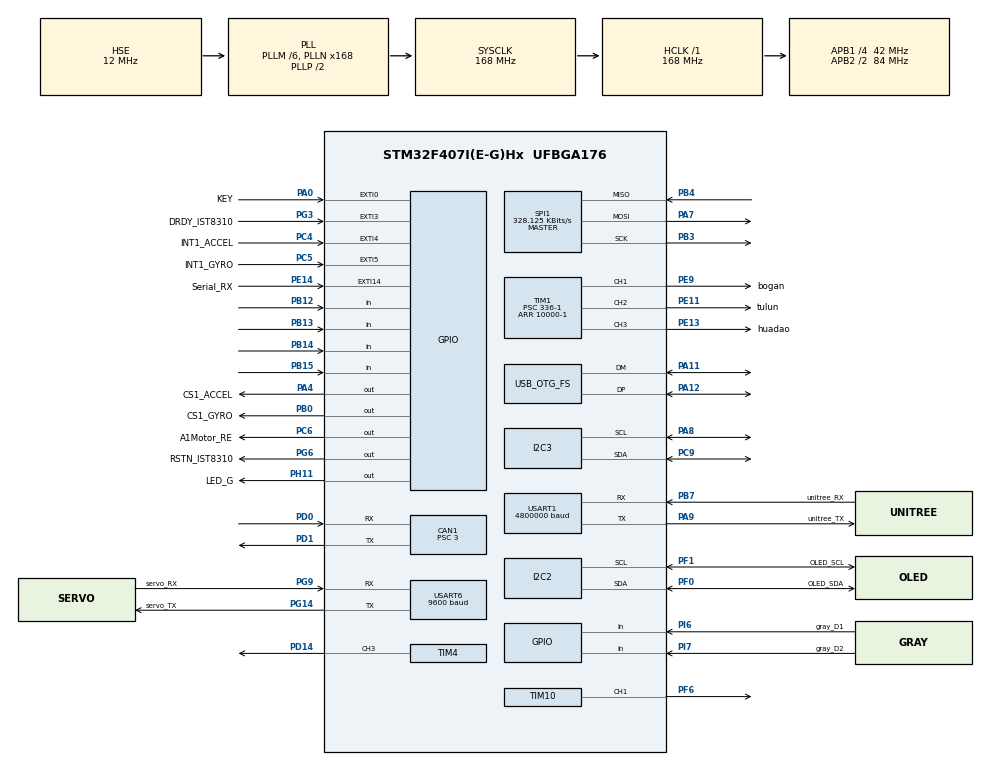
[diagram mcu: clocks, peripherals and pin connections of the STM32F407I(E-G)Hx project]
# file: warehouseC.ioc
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CAN1.BS1=CAN_BS1_10TQ
CAN1.BS2=CAN_BS2_3TQ
CAN1.CalculateBaudRate=1000000
CAN1.CalculateTimeBit=1000
CAN1.CalculateTimeQuantum=71.42857142857143
CAN1.Prescaler=3
Dma.I2C2_TX.6.Direction=DMA_MEMORY_TO_PERIPH
Dma.I2C2_TX.6.FIFOMode=DMA_FIFOMODE_DISABLE
Dma.I2C2_TX.6.Instance=DMA1_Stream7
Dma.I2C2_TX.6.MemDataAlignment=DMA_MDATAALIGN_BYTE
Dma.I2C2_TX.6.MemInc=DMA_MINC_ENABLE
Dma.I2C2_TX.6.Mode=DMA_NORMAL
Dma.I2C2_TX.6.PeriphDataAlignment=DMA_PDATAALIGN_BYTE
Dma.I2C2_TX.6.PeriphInc=DMA_PINC_DISABLE
Dma.I2C2_TX.6.Priority=DMA_PRIORITY_LOW
Dma.Request0=SPI1_RX
Dma.Request1=SPI1_TX
Dma.Request2=USART1_TX
Dma.Request3=USART1_RX
Dma.Request4=USART6_RX
Dma.Request5=USART6_TX
Dma.Request6=I2C2_TX
Dma.SPI1_RX.0.Direction=DMA_PERIPH_TO_MEMORY
Dma.SPI1_RX.0.FIFOMode=DMA_FIFOMODE_DISABLE
Dma.SPI1_RX.0.Instance=DMA2_Stream2
Dma.SPI1_RX.0.MemDataAlignment=DMA_MDATAALIGN_BYTE
Dma.SPI1_RX.0.MemInc=DMA_MINC_ENABLE
Dma.SPI1_RX.0.Mode=DMA_NORMAL
Dma.SPI1_RX.0.PeriphDataAlignment=DMA_PDATAALIGN_BYTE
Dma.SPI1_RX.0.PeriphInc=DMA_PINC_DISABLE
Dma.SPI1_RX.0.Priority=DMA_PRIORITY_VERY_HIGH
Dma.SPI1_TX.1.Direction=DMA_MEMORY_TO_PERIPH
Dma.SPI1_TX.1.FIFOMode=DMA_FIFOMODE_DISABLE
Dma.SPI1_TX.1.Instance=DMA2_Stream3
Dma.SPI1_TX.1.MemDataAlignment=DMA_MDATAALIGN_BYTE
Dma.SPI1_TX.1.MemInc=DMA_MINC_ENABLE
Dma.SPI1_TX.1.Mode=DMA_NORMAL
Dma.SPI1_TX.1.PeriphDataAlignment=DMA_PDATAALIGN_BYTE
Dma.SPI1_TX.1.PeriphInc=DMA_PINC_DISABLE
Dma.SPI1_TX.1.Priority=DMA_PRIORITY_HIGH
Dma.USART1_RX.3.Direction=DMA_PERIPH_TO_MEMORY
Dma.USART1_RX.3.FIFOMode=DMA_FIFOMODE_DISABLE
Dma.USART1_RX.3.Instance=DMA2_Stream5
Dma.USART1_RX.3.MemDataAlignment=DMA_MDATAALIGN_BYTE
Dma.USART1_RX.3.MemInc=DMA_MINC_ENABLE
Dma.USART1_RX.3.Mode=DMA_CIRCULAR
Dma.USART1_RX.3.PeriphDataAlignment=DMA_PDATAALIGN_BYTE
Dma.USART1_RX.3.PeriphInc=DMA_PINC_DISABLE
Dma.USART1_RX.3.Priority=DMA_PRIORITY_VERY_HIGH
Dma.USART1_TX.2.Direction=DMA_MEMORY_TO_PERIPH
Dma.USART1_TX.2.FIFOMode=DMA_FIFOMODE_DISABLE
Dma.USART1_TX.2.Instance=DMA2_Stream7
Dma.USART1_TX.2.MemDataAlignment=DMA_MDATAALIGN_BYTE
Dma.USART1_TX.2.MemInc=DMA_MINC_ENABLE
Dma.USART1_TX.2.Mode=DMA_NORMAL
Dma.USART1_TX.2.PeriphDataAlignment=DMA_PDATAALIGN_BYTE
Dma.USART1_TX.2.PeriphInc=DMA_PINC_DISABLE
Dma.USART1_TX.2.Priority=DMA_PRIORITY_VERY_HIGH
Dma.USART6_RX.4.Direction=DMA_PERIPH_TO_MEMORY
Dma.USART6_RX.4.FIFOMode=DMA_FIFOMODE_DISABLE
Dma.USART6_RX.4.Instance=DMA2_Stream1
Dma.USART6_RX.4.MemDataAlignment=DMA_MDATAALIGN_BYTE
Dma.USART6_RX.4.MemInc=DMA_MINC_ENABLE
Dma.USART6_RX.4.Mode=DMA_NORMAL
Dma.USART6_RX.4.PeriphDataAlignment=DMA_PDATAALIGN_BYTE
Dma.USART6_RX.4.PeriphInc=DMA_PINC_DISABLE
Dma.USART6_RX.4.Priority=DMA_PRIORITY_LOW
Dma.USART6_TX.5.Direction=DMA_MEMORY_TO_PERIPH
Dma.USART6_TX.5.FIFOMode=DMA_FIFOMODE_DISABLE
Dma.USART6_TX.5.Instance=DMA2_Stream6
Dma.USART6_TX.5.MemDataAlignment=DMA_MDATAALIGN_BYTE
Dma.USART6_TX.5.MemInc=DMA_MINC_ENABLE
Dma.USART6_TX.5.Mode=DMA_NORMAL
Dma.USART6_TX.5.PeriphDataAlignment=DMA_PDATAALIGN_BYTE
Dma.USART6_TX.5.PeriphInc=DMA_PINC_DISABLE
Dma.USART6_TX.5.Priority=DMA_PRIORITY_LOW
FREERTOS.INCLUDE_eTaskGetState=1
FREERTOS.INCLUDE_pcTaskGetTaskName=1
FREERTOS.INCLUDE_uxTaskGetStackHighWaterMark=1
FREERTOS.INCLUDE_vTaskCleanUpResources=1
FREERTOS.INCLUDE_vTaskDelayUntil=1
FREERTOS.INCLUDE_xEventGroupSetBitFromISR=1
FREERTOS.INCLUDE_xQueueGetMutexHolder=1
FREERTOS.INCLUDE_xSemaphoreGetMutexHolder=1
FREERTOS.INCLUDE_xTaskAbortDelay=1
FREERTOS.INCLUDE_xTaskGetCurrentTaskHandle=1
FREERTOS.INCLUDE_xTaskGetHandle=1
FREERTOS.INCLUDE_xTimerPendFunctionCall=1
FREERTOS.Tasks01=Prepare_Task_,-3,128,Prepare_Task,As weak,NULL,Dynamic,NULL,NULL
FREERTOS.configUSE_TIMERS=1
I2C2.I2C_Mode=I2C_Fast
I2C3.I2C_Mode=I2C_Fast
Mcu.Family=STM32F4
Mcu.Name=STM32F407I(E-G)Hx
Mcu.Package=UFBGA176
NVIC.CAN1_RX0_IRQn=true\:6\:0\:true\:false\:true\:true\:true\:true\:true
NVIC.DMA1_Stream7_IRQn=true\:5\:0\:false\:false\:true\:true\:false\:true\:true
NVIC.DMA2_Stream1_IRQn=true\:5\:0\:false\:false\:true\:true\:false\:true\:true
NVIC.DMA2_Stream2_IRQn=true\:6\:0\:true\:false\:true\:true\:false\:true\:true
NVIC.DMA2_Stream3_IRQn=true\:5\:0\:false\:false\:true\:true\:false\:true\:true
NVIC.DMA2_Stream5_IRQn=true\:5\:0\:false\:false\:true\:true\:false\:true\:true
NVIC.DMA2_Stream6_IRQn=true\:5\:0\:false\:false\:true\:true\:false\:true\:true
NVIC.DMA2_Stream7_IRQn=true\:5\:0\:false\:false\:true\:true\:false\:true\:true
NVIC.EXTI0_IRQn=true\:6\:0\:true\:false\:true\:true\:true\:true\:true
NVIC.EXTI15_10_IRQn=true\:7\:0\:true\:false\:true\:true\:true\:true\:true
NVIC.EXTI3_IRQn=true\:5\:0\:false\:false\:true\:true\:true\:true\:true
NVIC.EXTI4_IRQn=true\:5\:0\:false\:false\:true\:true\:true\:true\:true
NVIC.EXTI9_5_IRQn=true\:5\:0\:false\:false\:true\:true\:true\:true\:true
NVIC.I2C2_EV_IRQn=true\:5\:0\:false\:false\:true\:true\:true\:true\:true
NVIC.OTG_FS_IRQn=true\:5\:0\:false\:false\:true\:true\:false\:true\:true
NVIC.PriorityGroup=NVIC_PRIORITYGROUP_4
NVIC.TIM2_IRQn=true\:5\:0\:false\:false\:true\:true\:true\:true\:true
NVIC.TIM6_DAC_IRQn=true\:15\:0\:false\:false\:true\:false\:false\:true\:true
NVIC.TimeBase=TIM6_DAC_IRQn
NVIC.TimeBaseIP=TIM6
NVIC.USART1_IRQn=true\:5\:0\:false\:false\:true\:true\:true\:true\:true
NVIC.USART6_IRQn=true\:5\:0\:false\:false\:true\:true\:true\:true\:true
PA0-WKUP.GPIO_Label=KEY
PA0-WKUP.GPIO_ModeDefaultEXTI=GPIO_MODE_IT_RISING_FALLING
PA0-WKUP.GPIO_PuPd=GPIO_PULLUP
PA0-WKUP.Signal=GPXTI0
PA11.Mode=Device_Only
PA11.Signal=USB_OTG_FS_DM
PA12.Mode=Device_Only
PA12.Signal=USB_OTG_FS_DP
PA13.Mode=Serial_Wire
PA13.Signal=SYS_JTMS-SWDIO
PA14.Mode=Serial_Wire
PA14.Signal=SYS_JTCK-SWCLK
PA4.GPIO_Label=CS1_ACCEL
PA4.GPIO_PuPd=GPIO_PULLUP
PA4.GPIO_Speed=GPIO_SPEED_FREQ_HIGH
PA4.PinState=GPIO_PIN_SET
PA4.Signal=GPIO_Output
PA7.GPIO_PuPd=GPIO_PULLUP
PA7.Mode=Full_Duplex_Master
PA7.Signal=SPI1_MOSI
PA8.GPIO_Pu=GPIO_PULLUP
PA8.Mode=I2C
PA8.Signal=I2C3_SCL
PA9.GPIO_Label=unitree_TX
PA9.Mode=Asynchronous
PA9.Signal=USART1_TX
PB0.GPIO_Label=CS1_GYRO
PB0.GPIO_PuPd=GPIO_PULLUP
PB0.GPIO_Speed=GPIO_SPEED_FREQ_HIGH
PB0.PinState=GPIO_PIN_SET
PB0.Signal=GPIO_Output
PB12.Signal=GPIO_Input
PB13.Signal=GPIO_Input
PB14.Signal=GPIO_Input
PB15.Signal=GPIO_Input
PB3.GPIO_PuPd=GPIO_PULLUP
PB3.Mode=Full_Duplex_Master
PB3.Signal=SPI1_SCK
PB4.GPIO_PuPd=GPIO_PULLUP
PB4.Mode=Full_Duplex_Master
PB4.Signal=SPI1_MISO
PB7.GPIO_Label=unitree_RX
PB7.Mode=Asynchronous
PB7.Signal=USART1_RX
PC4.GPIO_Label=INT1_ACCEL
PC4.GPIO_ModeDefaultEXTI=GPIO_MODE_IT_FALLING
PC4.GPIO_PuPd=GPIO_PULLUP
PC4.Signal=GPXTI4
PC5.GPIO_Label=INT1_GYRO
PC5.GPIO_ModeDefaultEXTI=GPIO_MODE_IT_FALLING
PC5.GPIO_PuPd=GPIO_PULLUP
PC5.Signal=GPXTI5
PC6.GPIO_Label=A1Motor_RE
PC6.Signal=GPIO_Output
PC9.GPIO_Pu=GPIO_PULLUP
PC9.Mode=I2C
PC9.Signal=I2C3_SDA
PD0.Mode=CAN_Activate
PD0.Signal=CAN1_RX
PD1.Mode=CAN_Activate
PD1.Signal=CAN1_TX
PD14.GPIO_PuPd=GPIO_PULLUP
PD14.GPIO_Speed=GPIO_SPEED_FREQ_HIGH
PD14.Signal=S_TIM4_CH3
PE11.GPIO_Label=tulun
PE11.Signal=S_TIM1_CH2
PE13.GPIO_Label=huadao
PE13.Signal=S_TIM1_CH3
PE14.GPIO_Label=Serial_RX
PE14.GPIO_ModeDefaultEXTI=GPIO_MODE_IT_FALLING
PE14.GPIO_PuPd=GPIO_PULLUP
PE14.Signal=GPXTI14
PE9.GPIO_Label=bogan
PE9.Signal=S_TIM1_CH1
PF0.GPIO_Label=OLED_SDA
PF0.GPIO_Speed=GPIO_SPEED_FREQ_HIGH
PF0.Mode=I2C
PF0.Signal=I2C2_SDA
PF1.GPIO_Label=OLED_SCL
PF1.GPIO_Speed=GPIO_SPEED_FREQ_HIGH
PF1.Mode=I2C
PF1.Signal=I2C2_SCL
PF6.GPIO_PuPd=GPIO_PULLUP
PF6.GPIO_Speed=GPIO_SPEED_FREQ_HIGH
PF6.Signal=S_TIM10_CH1
PG14.GPIO_Label=servo_TX
PG14.Mode=Asynchronous
PG14.Signal=USART6_TX
PG3.GPIO_Label=DRDY_IST8310
PG3.GPIO_ModeDefaultEXTI=GPIO_MODE_IT_FALLING
PG3.GPIO_PuPd=GPIO_PULLUP
PG3.Signal=GPXTI3
PG6.GPIO_Label=RSTN_IST8310
PG6.GPIO_PuPd=GPIO_PULLUP
PG6.GPIO_Speed=GPIO_SPEED_FREQ_MEDIUM
PG6.PinState=GPIO_PIN_SET
PG6.Signal=GPIO_Output
PG9.GPIO_Label=servo_RX
PG9.Mode=Asynchronous
PG9.Signal=USART6_RX
PH0-OSC_IN.Mode=HSE-External-Oscillator
PH0-OSC_IN.Signal=RCC_OSC_IN
PH1-OSC_OUT.Mode=HSE-External-Oscillator
PH1-OSC_OUT.Signal=RCC_OSC_OUT
PH11.GPIO_Label=LED_G
PH11.GPIO_PuPd=GPIO_PULLUP
PH11.PinState=GPIO_PIN_SET
PH11.Signal=GPIO_Output
PI6.GPIO_Label=gray_D1
PI6.Signal=GPIO_Input
PI7.GPIO_Label=gray_D2
PI7.Signal=GPIO_Input
ProjectManager.HeapSize=0x1000
ProjectManager.StackSize=0x400
ProjectManager.TargetToolchain=MDK-ARM V5.32
RCC.48MHZClocksFreq_Value=48000000
RCC.AHBFreq_Value=168000000
RCC.APB1CLKDivider=RCC_HCLK_DIV4
RCC.APB1Freq_Value=42000000
RCC.APB1TimFreq_Value=84000000
RCC.APB2CLKDivider=RCC_HCLK_DIV2
RCC.APB2Freq_Value=84000000
RCC.APB2TimFreq_Value=168000000
RCC.CortexFreq_Value=168000000
RCC.HCLKFreq_Value=168000000
RCC.HSE_VALUE=12000000
RCC.HSI_VALUE=16000000
RCC.LSE_VALUE=32768
RCC.PLLM=6
RCC.PLLN=168
RCC.PLLQ=7
RCC.SYSCLKFreq_VALUE=168000000
RCC.SYSCLKSource=RCC_SYSCLKSOURCE_PLLCLK
RCC.VCOOutputFreq_Value=336000000
SH.S_TIM10_CH1.0=TIM10_CH1,PWM Generation1 CH1
SH.S_TIM1_CH1.0=TIM1_CH1,PWM Generation1 CH1
SH.S_TIM1_CH2.0=TIM1_CH2,PWM Generation2 CH2
SH.S_TIM1_CH3.0=TIM1_CH3,PWM Generation3 CH3
SH.S_TIM4_CH3.0=TIM4_CH3,PWM Generation3 CH3
SPI1.BaudRatePrescaler=SPI_BAUDRATEPRESCALER_256
SPI1.CLKPhase=SPI_PHASE_2EDGE
SPI1.CLKPolarity=SPI_POLARITY_HIGH
SPI1.CalculateBaudRate=328.125 KBits/s
SPI1.Direction=SPI_DIRECTION_2LINES
SPI1.Mode=SPI_MODE_MASTER
SPI1.VirtualType=VM_MASTER
TIM1.Channel-PWM\ Generation1\ CH1=TIM_CHANNEL_1
TIM1.Channel-PWM\ Generation2\ CH2=TIM_CHANNEL_2
TIM1.Channel-PWM\ Generation3\ CH3=TIM_CHANNEL_3
TIM1.Period=10000-1
TIM1.Prescaler=336-1
TIM1.Pulse-PWM\ Generation1\ CH1=350
TIM1.Pulse-PWM\ Generation2\ CH2=250
TIM1.Pulse-PWM\ Generation3\ CH3=900
TIM10.Channel=TIM_CHANNEL_1
TIM10.Period=5000-1
TIM2.AutoReloadPreload=TIM_AUTORELOAD_PRELOAD_ENABLE
TIM2.Period=103
TIM2.Prescaler=83
TIM3.Prescaler=83
TIM4.Channel-PWM\ Generation3\ CH3=TIM_CHANNEL_3
TIM4.Prescaler=168-1
USART1.BaudRate=4800000
USART1.VirtualMode=VM_ASYNC
USART6.BaudRate=9600
USART6.VirtualMode=VM_ASYNC
USB_DEVICE.CLASS_NAME_FS=CDC
USB_DEVICE.VirtualMode-CDC_FS=Cdc
USB_DEVICE.VirtualModeFS=Cdc_FS
USB_OTG_FS.VirtualMode=Device_Only
VP_FREERTOS_VS_CMSIS_V1.Mode=CMSIS_V1
VP_SYS_VS_tim6.Mode=TIM6
VP_TIM10_VS_ClockSourceINT.Mode=Enable_Timer
VP_TIM1_VS_ClockSourceINT.Mode=Internal
VP_TIM2_VS_ClockSourceINT.Mode=Internal
VP_TIM3_VS_ClockSourceINT.Mode=Internal
VP_TIM4_VS_ClockSourceINT.Mode=Internal
VP_USB_DEVICE_VS_USB_DEVICE_CDC_FS.Mode=CDC_FS
board=custom

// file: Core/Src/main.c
/* USER CODE BEGIN Header */
/**
  ******************************************************************************
  * @file           : main.c
  * @brief          : Main program body
  ******************************************************************************
  * @attention
  *
  * Copyright (c) 2024 STMicroelectronics.
  * All rights reserved.
  *
  * This software is licensed under terms that can be found in the LICENSE file
  * in the root directory of this software component.
  * If no LICENSE file comes with this software, it is provided AS-IS.
  *
  ******************************************************************************
  */
/* USER CODE END Header */
#include "main.h"
#include "cmsis_os.h"
#include "can.h"
#include "dma.h"
#include "i2c.h"
#include "spi.h"
#include "tim.h"
#include "usart.h"
#include "usb_device.h"
#include "gpio.h"

/* USER CODE BEGIN Includes */

#include "bsp_can.h"
#include "INS_task.h"
#include "calibrate_task.h"
#include "bsp_delay.h"
#include "IO_Serial.h"
#include "oled.h"

/* USER CODE END Includes */

/* USER CODE BEGIN PV */

//IC卡
uint8_t ic_read_start = 0;
uint8_t ic_buf_size = 0;
uint8_t ic_buf[22] = {0};
uint8_t X = 0;
uint8_t IC_data;//当前识别到的IC卡内的数据(几行几列)
uint8_t Data;
uint8_t recvData = 0;  //接收数据
uint8_t recvStat = COM_STOP_BIT;  //接收状态

/* USER CODE END PV */

void SystemClock_Config(void);
void MX_FREERTOS_Init(void);

/* USER CODE BEGIN 0 */
//void HAL_GPIO_EXTI_Callback(uint16_t GPIO_Pin)
//{
//    if(GPIO_Pin == KEY_Pin)
//    {
//        if(exit_flag == 0)
//        {
//            exit_flag = 1;
//            rising_falling_flag = HAL_GPIO_ReadPin(KEY_GPIO_Port, KEY_Pin);
//        }
//    }
//}
/* USER CODE END 0 */

int main(void)
{

  /* MCU Configuration--------------------------------------------------------*/

  /* Reset of all peripherals, Initializes the Flash interface and the Systick. */
  HAL_Init();

  /* Configure the system clock */
  SystemClock_Config();

  /* Initialize all configured peripherals */
  MX_GPIO_Init();
  MX_DMA_Init();
  MX_USART1_UART_Init();
  MX_CAN1_Init();
  MX_I2C3_Init();
  MX_SPI1_Init();
  MX_TIM10_Init();
  MX_TIM4_Init();
  MX_TIM1_Init();
  MX_USART6_UART_Init();
  MX_TIM2_Init();
  MX_TIM3_Init();
  MX_I2C2_Init();
  /* USER CODE BEGIN 2 */
  HAL_Delay(20);
  OLED_Init();
	can_filter_init();
	delay_init();
    cali_param_init();

	//舵机
	HAL_TIM_PWM_Start(&htim1, TIM_CHANNEL_1);
	HAL_TIM_PWM_Start(&htim1, TIM_CHANNEL_2);
	HAL_TIM_PWM_Start(&htim1, TIM_CHANNEL_3);

	HAL_TIM_Base_Start(&htim3);//IO串口延时定时器

    HAL_GPIO_WritePin(LED_G_GPIO_Port, LED_G_Pin, GPIO_PIN_RESET);

  /* USER CODE END 2 */

  /* Call init function for freertos objects (in cmsis_os2.c) */
  MX_FREERTOS_Init();

  /* Start scheduler */
  osKernelStart();

  /* We should never get here as control is now taken by the scheduler */

  /* Infinite loop */
  while (1)
  {

  }
}

void SystemClock_Config(void)
{
  RCC_OscInitTypeDef RCC_OscInitStruct = {0};
  RCC_ClkInitTypeDef RCC_ClkInitStruct = {0};

  /** Configure the main internal regulator output voltage
  */
  __HAL_RCC_PWR_CLK_ENABLE();
  __HAL_PWR_VOLTAGESCALING_CONFIG(PWR_REGULATOR_VOLTAGE_SCALE1);

  /** Initializes the RCC Oscillators according to the specified parameters
  * in the RCC_OscInitTypeDef structure.
  */
  RCC_OscInitStruct.OscillatorType = RCC_OSCILLATORTYPE_HSE;
  RCC_OscInitStruct.HSEState = RCC_HSE_ON;
  RCC_OscInitStruct.PLL.PLLState = RCC_PLL_ON;
  RCC_OscInitStruct.PLL.PLLSource = RCC_PLLSOURCE_HSE;
  RCC_OscInitStruct.PLL.PLLM = 6;
  RCC_OscInitStruct.PLL.PLLN = 168;
  RCC_OscInitStruct.PLL.PLLP = RCC_PLLP_DIV2;
  RCC_OscInitStruct.PLL.PLLQ = 7;
  if (HAL_RCC_OscConfig(&RCC_OscInitStruct) != HAL_OK)
  {
    Error_Handler();
  }

  /** Initializes the CPU, AHB and APB buses clocks
  */
  RCC_ClkInitStruct.ClockType = RCC_CLOCKTYPE_HCLK|RCC_CLOCKTYPE_SYSCLK
                              |RCC_CLOCKTYPE_PCLK1|RCC_CLOCKTYPE_PCLK2;
  RCC_ClkInitStruct.SYSCLKSource = RCC_SYSCLKSOURCE_PLLCLK;
  RCC_ClkInitStruct.AHBCLKDivider = RCC_SYSCLK_DIV1;
  RCC_ClkInitStruct.APB1CLKDivider = RCC_HCLK_DIV4;
  RCC_ClkInitStruct.APB2CLKDivider = RCC_HCLK_DIV2;

  if (HAL_RCC_ClockConfig(&RCC_ClkInitStruct, FLASH_LATENCY_5) != HAL_OK)
  {
    Error_Handler();
  }
}

void HAL_TIM_PeriodElapsedCallback(TIM_HandleTypeDef *htim)
{
  if (htim->Instance == TIM6) {
    HAL_IncTick();
  }
  /* USER CODE BEGIN Callback 1 */

//  if(htim == &Serial_TIM)    //如果是TIM1 触发中断
//	{
//		recvStat++;
//		if(recvStat == COM_STOP_BIT)
//		{
//			HAL_TIM_Base_Stop(&Serial_TIM);
//			__HAL_TIM_SetCounter(&Serial_TIM, 0);
//
//			//到这就接收到完整的1个字节数据
//			if(ic_read_start == 1)
//			{
//				if(ic_buf_size == 1 && recvData != 0x16)	//第二帧对不上
//				{
//					ic_read_start = 0;
//					ic_buf_size = -1;
//				}
//				ic_buf[ic_buf_size++] = recvData;
//
//				if(ic_buf_size == 22)						//接收完毕
//				{
//					ic_read_start = 0;
//					ic_buf_size = 0;						//计数归零
//					for(uint8_t i = 0;i < 21 ; i++)
//					{
//						X^=ic_buf[i];
//					}
//					X=~X;
//					if(X == ic_buf[21])						//校验成功
//					{
//						for(int i = 1;i <= 5;i++)
//						{
//							if(ic_buf[i+15] != ic_buf[15])
//								return;
//						}
//						if(((ic_buf[15] % 16) < 4) && ((ic_buf[15] % 16) > 0) && ((ic_buf[15] / 16) > 0) && ((ic_buf[15] / 16) < 4))
//							IC_data = ic_buf[15];				//将球的数据存入IC_Data
//					}
//					X = 0;
//				}
//			}
//
//			if(ic_read_start == 0 && recvData == 0x04)		//检测到帧头
//			{
//				ic_read_start = 1;
//				ic_buf[ic_buf_size++] = recvData;
//			}
//			return;
//		}
//
//		if(IO_SERIAL_RX)
//		{
//			recvData |= (1 << (recvStat - 1));
//		}
//		else
//		{
//			recvData &= ~(1 << (recvStat - 1));
//		}
//	}

  /* USER CODE END Callback 1 */
}

void Error_Handler(void)
{
  __disable_irq();
  while (1)
  {
  }
}

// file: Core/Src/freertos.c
/* USER CODE BEGIN Header */
/**
  ******************************************************************************
  * File Name          : freertos.c
  * Description        : Code for freertos applications
  ******************************************************************************
  * @attention
  *
  * Copyright (c) 2024 STMicroelectronics.
  * All rights reserved.
  *
  * This software is licensed under terms that can be found in the LICENSE file
  * in the root directory of this software component.
  * If no LICENSE file comes with this software, it is provided AS-IS.
  *
  ******************************************************************************
  */
/* USER CODE END Header */

#include "FreeRTOS.h"
#include "task.h"
#include "main.h"
#include "cmsis_os.h"

/* USER CODE BEGIN Includes */

#include "Chassis_Task.h"
#include "Bodanpan_Task.h"
#include "arm_task.h"
#include "flow_task.h"
#include "arm_control_task.h"
#include "calibrate_task.h"
#include "INS_task.h"
#include "oled_task.h"
/* USER CODE END Includes */

/* USER CODE BEGIN Variables */

uint8_t my_cali_flag = 0;	//��Caliberate_Task�Ƶ�����

osThreadId chassisTaskHandle;
osThreadId BodanpanTaskHandle;
osThreadId armTaskHandle;
osThreadId flowTaskHandle;
osThreadId armControlTaskHandle;
osThreadId calibrateTaskHandle;
osThreadId imuTaskHandle;

osThreadId oledTaskHandle;
/* USER CODE END Variables */
osThreadId Prepare_Task_Handle;

void Prepare_Task(void const * argument);

extern void MX_USB_DEVICE_Init(void);
void MX_FREERTOS_Init(void); /* (MISRA C 2004 rule 8.1) */

/* GetIdleTaskMemory prototype (linked to static allocation support) */
void vApplicationGetIdleTaskMemory( StaticTask_t **ppxIdleTaskTCBBuffer, StackType_t **ppxIdleTaskStackBuffer, uint32_t *pulIdleTaskStackSize );

/* GetTimerTaskMemory prototype (linked to static allocation support) */
void vApplicationGetTimerTaskMemory( StaticTask_t **ppxTimerTaskTCBBuffer, StackType_t **ppxTimerTaskStackBuffer, uint32_t *pulTimerTaskStackSize );

/* USER CODE BEGIN GET_IDLE_TASK_MEMORY */
static StaticTask_t xIdleTaskTCBBuffer;
static StackType_t xIdleStack[configMINIMAL_STACK_SIZE];

void vApplicationGetIdleTaskMemory( StaticTask_t **ppxIdleTaskTCBBuffer, StackType_t **ppxIdleTaskStackBuffer, uint32_t *pulIdleTaskStackSize )
{
  *ppxIdleTaskTCBBuffer = &xIdleTaskTCBBuffer;
  *ppxIdleTaskStackBuffer = &xIdleStack[0];
  *pulIdleTaskStackSize = configMINIMAL_STACK_SIZE;
  /* place for user code */
}
/* USER CODE END GET_IDLE_TASK_MEMORY */

/* USER CODE BEGIN GET_TIMER_TASK_MEMORY */
static StaticTask_t xTimerTaskTCBBuffer;
static StackType_t xTimerStack[configTIMER_TASK_STACK_DEPTH];

void vApplicationGetTimerTaskMemory( StaticTask_t **ppxTimerTaskTCBBuffer, StackType_t **ppxTimerTaskStackBuffer, uint32_t *pulTimerTaskStackSize )
{
  *ppxTimerTaskTCBBuffer = &xTimerTaskTCBBuffer;
  *ppxTimerTaskStackBuffer = &xTimerStack[0];
  *pulTimerTaskStackSize = configTIMER_TASK_STACK_DEPTH;
  /* place for user code */
}
/* USER CODE END GET_TIMER_TASK_MEMORY */

void MX_FREERTOS_Init(void) {

  /* Create the thread(s) */
  /* definition and creation of Prepare_Task_ */
  osThreadDef(Prepare_Task_, Prepare_Task, osPriorityIdle, 0, 128);
  Prepare_Task_Handle = osThreadCreate(osThread(Prepare_Task_), NULL);

  /* USER CODE BEGIN RTOS_THREADS */
//	osThreadDef(cali, calibrate_task, osPriorityNormal, 0, 512);
//    calibrateTaskHandle = osThreadCreate(osThread(cali), NULL);

//	osThreadDef(imuTask, INS_task, osPriorityRealtime, 0, 512);
//    imuTaskHandle = osThreadCreate(osThread(imuTask), NULL);
//
//	osThreadDef(ChassisTask, chassis_task, osPriorityAboveNormal, 0, 512);
//    chassisTaskHandle = osThreadCreate(osThread(ChassisTask), NULL);

//	osThreadDef(Bodanpan_Task_,Bodanpan_Task,osPriorityBelowNormal, 0, 128);
//    BodanpanTaskHandle = osThreadCreate(osThread(Bodanpan_Task_), NULL);

//	osThreadDef(armTask, arm_task, osPriorityNormal, 0, 512);
//	armTaskHandle = osThreadCreate(osThread(armTask), NULL);

//	osThreadDef(flowTask, flow_task, osPriorityNormal, 0, 512);
//	flowTaskHandle = osThreadCreate(osThread(flowTask), NULL);

//	osThreadDef(armControlTask, arm_control_task, osPriorityNormal, 0, 256);
//	armControlTaskHandle = osThreadCreate(osThread(armControlTask), NULL);

  /* USER CODE END RTOS_THREADS */

}

__weak void Prepare_Task(void const * argument)
{
  /* init code for USB_DEVICE */
  MX_USB_DEVICE_Init();
  /* USER CODE BEGIN Prepare_Task */

  osThreadDef(cali, calibrate_task, osPriorityNormal, 0, 512);
  calibrateTaskHandle = osThreadCreate(osThread(cali), NULL);

  osThreadDef(imuTask, INS_task, osPriorityRealtime, 0, 512);
  imuTaskHandle = osThreadCreate(osThread(imuTask), NULL);

  osThreadDef(oledTask, oled_task, osPriorityRealtime, 0, 128);
  oledTaskHandle = osThreadCreate(osThread(oledTask), NULL);

//  /* Infinite loop */
  for(;;)
  {
    if(my_cali_flag == 1)
    {
      vTaskDelay(100);
      vTaskDelete(calibrateTaskHandle);
      vTaskDelay(100);

      osThreadDef(ChassisTask, chassis_task, osPriorityAboveNormal, 0, 512);
      chassisTaskHandle = osThreadCreate(osThread(ChassisTask), NULL);

      osThreadDef(Bodanpan_Task_,Bodanpan_Task,osPriorityBelowNormal, 0, 128);
      BodanpanTaskHandle = osThreadCreate(osThread(Bodanpan_Task_), NULL);

      osThreadDef(armTask, arm_task, osPriorityNormal, 0, 512);
      armTaskHandle = osThreadCreate(osThread(armTask), NULL);

      osThreadDef(flowTask, flow_task, osPriorityNormal, 0, 512);
      flowTaskHandle = osThreadCreate(osThread(flowTask), NULL);

      osThreadDef(armControlTask, arm_control_task, osPriorityNormal, 0, 256);
      armControlTaskHandle = osThreadCreate(osThread(armControlTask), NULL);

      vTaskDelay(100);
      vTaskDelete(NULL);
    }

    osDelay(1);
  }
  /* USER CODE END Prepare_Task */
}
